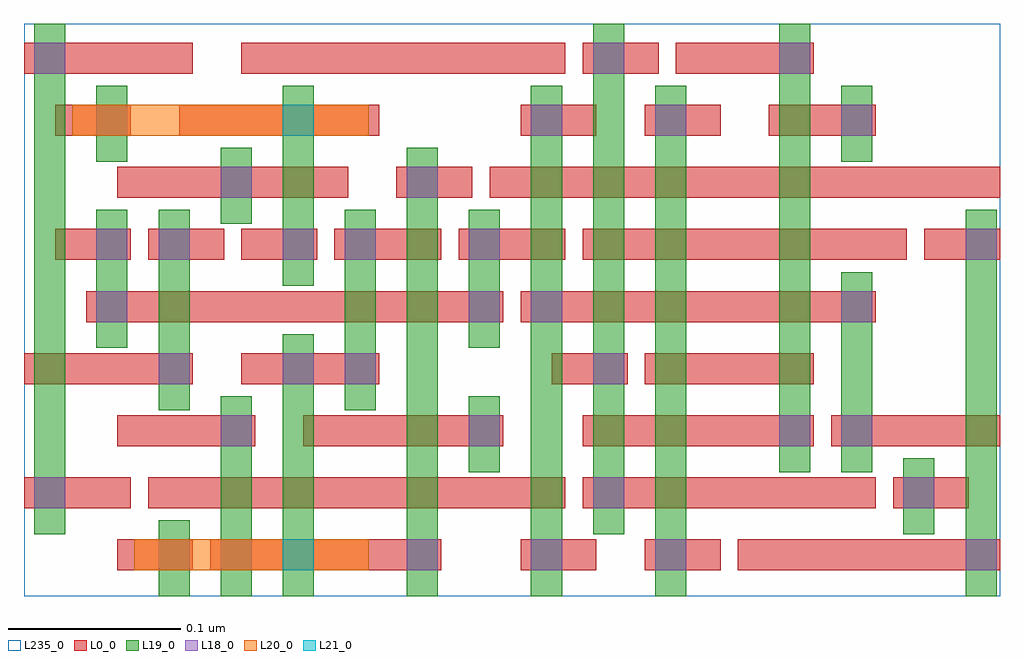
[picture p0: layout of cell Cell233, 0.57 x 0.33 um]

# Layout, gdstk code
import gdstk
lib = gdstk.Library(unit=1e-6, precision=2.5e-10)
def R(c, l, rs):  # rectangles x0, y0, x1, y1
    for r in rs: c.add(gdstk.rectangle(r[:2], r[2:], *l))
def A(c, l, x, y, w, h, nx, ny, dx, dy):  # array of equal rectangles
    R(c, l, [(x+i*dx, y+j*dy, x+i*dx+w, y+j*dy+h) for i in range(nx) for j in range(ny)])
L0_0 = (0, 0)
L18_0 = (18, 0)
L19_0 = (19, 0)
L20_0 = (20, 0)
L21_0 = (21, 0)
L235_0 = (235, 0)

cell233 = lib.new_cell('Cell233')
A(cell233, L0_0, 0.022, 0.179, 0.044, 0.018, 3, 1, 0.054, 0)
R(cell233, L0_0, [(0.058,-0.001,0.102,0.017), (0.112,-0.001,0.246,0.017), (0.292,-0.001,0.336,0.017), (0.364,-0.001,0.408,0.017), (0.418,-0.001,0.57,0.017), (0.004,0.035,0.066,0.053), (0.076,0.035,0.318,0.053), (0.328,0.035,0.498,0.053), (0.508,0.035,0.552,0.053), (0.058,0.071,0.138,0.089), (0.166,0.071,0.282,0.089), (0.328,0.071,0.462,0.089), (0.472,0.071,0.57,0.089), (0.004,0.107,0.102,0.125), (0.13,0.107,0.21,0.125), (0.31,0.107,0.354,0.125), (0.364,0.107,0.462,0.125), (0.04,0.143,0.282,0.161), (0.292,0.143,0.498,0.161), (0.184,0.179,0.246,0.197), (0.256,0.179,0.318,0.197), (0.328,0.179,0.516,0.197), (0.526,0.179,0.57,0.197), (0.058,0.215,0.192,0.233), (0.22,0.215,0.264,0.233), (0.274,0.215,0.57,0.233), (0.022,0.251,0.066,0.269), (0.094,0.251,0.21,0.269), (0.292,0.251,0.336,0.269), (0.364,0.251,0.408,0.269), (0.436,0.251,0.498,0.269), (0.004,0.287,0.102,0.305), (0.13,0.287,0.318,0.305), (0.328,0.287,0.372,0.305), (0.382,0.287,0.462,0.305)])
A(cell233, L18_0, 0.226, -0.001, 0.018, 0.018, 3, 1, 0.072, 0)
R(cell233, L18_0, [(0.082,-0.001,0.1,0.017), (0.118,-0.001,0.136,0.017), (0.55,-0.001,0.568,0.017), (0.01,0.035,0.028,0.053), (0.334,0.035,0.352,0.053), (0.514,0.035,0.532,0.053), (0.118,0.071,0.136,0.089), (0.262,0.071,0.28,0.089), (0.442,0.071,0.46,0.089), (0.478,0.071,0.496,0.089), (0.082,0.107,0.1,0.125), (0.154,0.107,0.172,0.125), (0.19,0.107,0.208,0.125), (0.334,0.107,0.352,0.125), (0.046,0.143,0.064,0.161), (0.262,0.143,0.28,0.161), (0.298,0.143,0.316,0.161), (0.478,0.143,0.496,0.161), (0.046,0.179,0.064,0.197), (0.082,0.179,0.1,0.197), (0.154,0.179,0.172,0.197), (0.19,0.179,0.208,0.197), (0.262,0.179,0.28,0.197), (0.55,0.179,0.568,0.197), (0.118,0.215,0.136,0.233), (0.226,0.215,0.244,0.233), (0.046,0.251,0.064,0.269), (0.298,0.251,0.316,0.269), (0.37,0.251,0.388,0.269), (0.478,0.251,0.496,0.269), (0.01,0.287,0.028,0.305), (0.334,0.287,0.352,0.305), (0.442,0.287,0.46,0.305)])
R(cell233, L19_0, [(0.082,-0.016,0.1,0.028), (0.118,-0.016,0.136,0.1), (0.154,-0.016,0.172,0.136), (0.226,-0.016,0.244,0.244), (0.298,-0.016,0.316,0.28), (0.37,-0.016,0.388,0.28), (0.55,-0.016,0.568,0.208), (0.01,0.02,0.028,0.316), (0.334,0.02,0.352,0.316), (0.514,0.02,0.532,0.064), (0.262,0.056,0.28,0.1), (0.442,0.056,0.46,0.316), (0.478,0.056,0.496,0.172), (0.082,0.092,0.1,0.208), (0.19,0.092,0.208,0.208), (0.046,0.128,0.064,0.208), (0.262,0.128,0.28,0.208), (0.154,0.164,0.172,0.28), (0.118,0.2,0.136,0.244), (0.046,0.236,0.064,0.28), (0.478,0.236,0.496,0.28)])
R(cell233, L20_0, [(0.068,-0.001,0.204,0.017), (0.032,0.251,0.204,0.269)])
R(cell233, L21_0, [(0.154,-0.001,0.172,0.017), (0.154,0.251,0.172,0.269)])
R(cell233, L235_0, [(0.004,-0.016,0.57,0.316)])

lib.write_gds('Cell233.gds')
